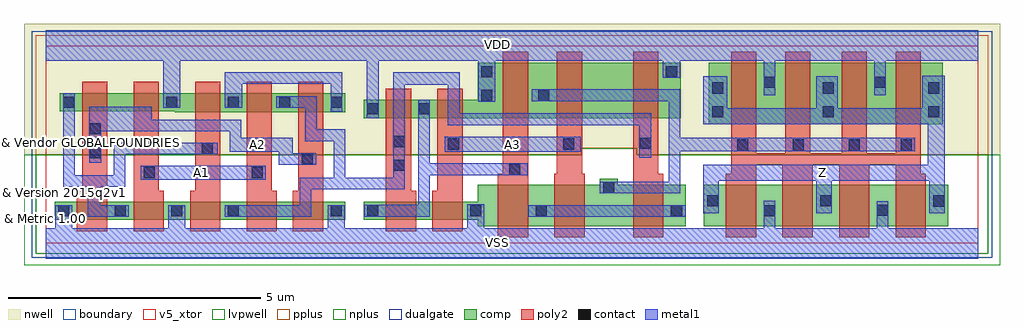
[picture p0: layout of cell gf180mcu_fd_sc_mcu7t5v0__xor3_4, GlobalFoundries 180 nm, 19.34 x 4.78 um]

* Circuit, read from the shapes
.subckt gf180mcu_fd_sc_mcu7t5v0__xor3_4 A1 A2 A3 VDD VSS Z
XM1 n1 A2 VSS VSUBS nfet_05v0 w=0.36u l=0.6u
XM2 VSS A1 n1 VSUBS nfet_05v0 w=0.36u l=0.6u
XM3 n2 n1 VSS VSUBS nfet_05v0 w=0.36u l=0.6u
XM4 n3 A1 n2 VSUBS nfet_05v0 w=0.36u l=0.6u
XM5 VSS A2 n3 VSUBS nfet_05v0 w=0.36u l=0.6u
XM6 n4 n2 n5 VSUBS nfet_05v0 w=0.36u l=0.6u
XM7 VSS A3 n4 VSUBS nfet_05v0 w=0.36u l=0.6u
XM8 n6 n5 VSS VSUBS nfet_05v0 w=0.82u l=0.6u
XM9 n7 A3 n6 VSUBS nfet_05v0 w=0.82u l=0.6u
XM10 n6 n2 n7 VSUBS nfet_05v0 w=0.82u l=0.6u
XM11 VSS n7 Z VSUBS nfet_05v0 w=0.82u l=0.6u m=4
XM12 n8 A2 n1 n9 pfet_05v0 w=0.36u l=0.5u
XM13 VDD A1 n8 n9 pfet_05v0 w=0.36u l=0.5u
XM14 n10 n1 VDD n9 pfet_05v0 w=0.385u l=0.5u
XM15 n2 A1 n10 n9 pfet_05v0 w=0.385u l=0.5u
XM16 n10 A2 n2 n9 pfet_05v0 w=0.385u l=0.5u
XM17 n5 n2 VDD n9 pfet_05v0 w=0.36u l=0.5u
XM18 VDD A3 n5 n9 pfet_05v0 w=0.36u l=0.5u
XM19 n7 n5 VDD n9 pfet_05v0 w=1.095u l=0.5u
XM20 n11 A3 n7 n9 pfet_05v0 w=1.095u l=0.5u
XM21 VDD n2 n11 n9 pfet_05v0 w=1.095u l=0.5u
XM22 VDD n7 Z n9 pfet_05v0 w=1.22u l=0.5u m=4
.ends

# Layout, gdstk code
import gdstk
lib = gdstk.Library(unit=1e-6, precision=1e-09)
def R(c, l, rs):  # rectangles x0, y0, x1, y1
    for r in rs: c.add(gdstk.rectangle(r[:2], r[2:], *l))
def A(c, l, x, y, w, h, nx, ny, dx, dy):  # array of equal rectangles
    R(c, l, [(x+i*dx, y+j*dy, x+i*dx+w, y+j*dy+h) for i in range(nx) for j in range(ny)])
def P(c, l, *ps):  # polygons
    for p in ps: c.add(gdstk.Polygon(p, *l))
boundary = (0, 0)
nwell = (21, 0)
comp = (22, 0)
poly2 = (30, 0)
pplus = (31, 0)
nplus = (32, 0)
contact = (33, 0)
metal1 = (34, 0)
dualgate = (55, 0)
v5_xtor = (112, 1)
lvpwell = (204, 0)

gf180mcu_fd_sc_mcu7t5v0_ = lib.new_cell('gf180mcu_fd_sc_mcu7t5v0__xor3_4')
R(gf180mcu_fd_sc_mcu7t5v0_, boundary, [(0,0,18.48,3.92)])
P(gf180mcu_fd_sc_mcu7t5v0_, nwell, [(-0.43,1.76),(-0.43,4.35),(18.91,4.35),(18.91,1.76),(11.71,1.76),(11.71,1.885),(10.61,1.885),(10.61,1.76)])
R(gf180mcu_fd_sc_mcu7t5v0_, comp, [(13.04,0.34,17.88,1.16), (0.18,0.465,5.94,0.825), (13.14,2.36,17.78,3.58)])
P(gf180mcu_fd_sc_mcu7t5v0_, comp, [(2.56,2.595),(2.56,2.62),(0.28,2.62),(0.28,2.98),(5.94,2.98),(5.94,2.595)],
  [(6.3,2.485),(6.3,2.845),(8.56,2.845),(8.56,3.58),(12.58,3.58),(12.58,2.485)],
  [(8.56,0.34),(8.56,0.465),(6.3,0.465),(6.3,0.825),(8.56,0.825),(8.56,1.16),(10.98,1.16),(10.98,1.285),(11.34,1.285),(11.34,1.16),(12.68,1.16),(12.68,0.34)])
P(gf180mcu_fd_sc_mcu7t5v0_, poly2, [(0.62,0.245),(0.62,1.045),(0.72,1.045),(0.72,3.2),(1.22,3.2),(1.22,0.245)],
  [(1.74,0.245),(1.74,3.2),(2.24,3.2),(2.24,1.045),(2.34,1.045),(2.34,0.245)],
  [(2.86,0.245),(2.86,1.045),(2.96,1.045),(2.96,3.2),(3.46,3.2),(3.46,0.245)],
  [(3.98,0.245),(3.98,3.2),(4.48,3.2),(4.48,1.045),(4.58,1.045),(4.58,0.245)],
  [(4.9,0.245),(4.9,1.045),(5,1.045),(5,3.2),(5.5,3.2),(5.5,0.245)],
  [(6.74,0.245),(6.74,3.065),(7.24,3.065),(7.24,1.045),(7.34,1.045),(7.34,0.245)],
  [(7.66,0.245),(7.66,1.045),(7.76,1.045),(7.76,3.065),(8.26,3.065),(8.26,0.245)],
  [(8.96,0.12),(8.96,1.38),(9.06,1.38),(9.06,3.8),(9.56,3.8),(9.56,0.12)],
  [(10.08,0.12),(10.08,1.38),(10.13,1.38),(10.13,3.8),(10.63,3.8),(10.63,1.38),(10.68,1.38),(10.68,0.12)],
  [(11.64,0.12),(11.64,3.8),(12.14,3.8),(12.14,1.38),(12.24,1.38),(12.24,0.12)],
  [(13.48,0.12),(13.48,1.38),(13.58,1.38),(13.58,3.8),(14.08,3.8),(14.08,1.785),(14.65,1.785),(14.65,3.8),(15.15,3.8),(15.15,1.785),(15.77,1.785),(15.77,3.8),(16.27,3.8),(16.27,1.785),(16.84,1.785),(16.84,3.8),(17.34,3.8),(17.34,1.38),(17.44,1.38),(17.44,0.12),(16.84,0.12),(16.84,1.555),(16.32,1.555),(16.32,0.12),(15.72,0.12),(15.72,1.555),(15.2,1.555),(15.2,0.12),(14.6,0.12),(14.6,1.555),(14.08,1.555),(14.08,0.12)])
P(gf180mcu_fd_sc_mcu7t5v0_, pplus, [(-0.2,1.76),(-0.2,4.12),(18.68,4.12),(18.68,1.76),(11.71,1.76),(11.71,1.885),(10.61,1.885),(10.61,1.76)])
P(gf180mcu_fd_sc_mcu7t5v0_, nplus, [(-0.2,-0.2),(-0.2,1.76),(10.61,1.76),(10.61,1.885),(11.71,1.885),(11.71,1.76),(18.68,1.76),(18.68,-0.2)])
A(gf180mcu_fd_sc_mcu7t5v0_, contact, 0.25, 0.535, 0.22, 0.22, 4, 1, 1.12, 0)
R(gf180mcu_fd_sc_mcu7t5v0_, contact, [(5.65,0.535,5.87,0.755), (6.37,0.535,6.59,0.755), (8.41,0.535,8.63,0.755), (9.71,0.535,9.93,0.755), (12.39,0.535,12.61,0.755), (14.23,0.535,14.45,0.755), (16.47,0.55,16.69,0.77), (17.59,0.73,17.81,0.95), (13.11,0.735,13.33,0.955), (15.35,0.735,15.57,0.955), (11.05,0.995,11.27,1.215), (1.94,1.295,2.16,1.515), (4.08,1.295,4.3,1.515), (9.185,1.355,9.405,1.575), (6.89,1.44,7.11,1.66), (5.07,1.565,5.29,1.785), (0.875,1.69,1.095,1.91), (3.09,1.77,3.31,1.99), (13.705,1.84,13.925,2.06), (14.8,1.84,15.02,2.06), (15.915,1.84,16.135,2.06), (16.94,1.84,17.16,2.06), (7.97,1.86,8.19,2.08), (10.255,1.86,10.475,2.08), (11.77,1.875,11.99,2.095), (6.89,1.91,7.11,2.13), (0.875,2.16,1.095,2.38), (13.21,2.5,13.43,2.72), (15.4,2.5,15.62,2.72), (17.49,2.5,17.71,2.72), (6.37,2.555,6.59,2.775), (7.39,2.555,7.61,2.775), (5.65,2.685,5.87,2.905), (0.35,2.69,0.57,2.91), (2.39,2.69,2.61,2.91), (3.61,2.69,3.83,2.91), (4.63,2.69,4.85,2.91), (8.63,2.82,8.85,3.04), (9.76,2.82,9.98,3.04), (13.21,2.97,13.43,3.19), (15.4,2.97,15.62,3.19), (17.49,2.97,17.71,3.19), (14.23,3.08,14.45,3.3), (16.42,3.08,16.64,3.3), (8.63,3.29,8.85,3.51), (12.29,3.29,12.51,3.51)])
R(gf180mcu_fd_sc_mcu7t5v0_, metal1, [(9.56,0.53,12.68,0.76), (1.88,1.265,4.36,1.535), (7.91,1.82,10.6,2.115)])
P(gf180mcu_fd_sc_mcu7t5v0_, metal1, [(0.835,0.53),(0.835,1.12),(0.345,1.12),(0.345,2.98),(0.575,2.98),(0.575,1.355),(1.35,1.355),(1.35,1.995),(3.41,1.995),(3.41,1.765),(1.58,1.765),(1.58,1.12),(1.085,1.12),(1.085,0.76),(1.65,0.76),(1.65,0.53)],
  [(4.615,1.56),(4.615,1.82),(3.645,1.82),(3.645,2.225),(1.105,2.225),(1.105,1.6),(0.865,1.6),(0.865,2.71),(2.1,2.71),(2.1,2.455),(3.875,2.455),(3.875,2.095),(4.895,2.095),(4.895,1.79),(5.36,1.79),(5.36,1.56)],
  [(5.645,2.61),(5.645,3.16),(3.89,3.16),(3.89,2.685),(3.55,2.685),(3.55,3.39),(5.875,3.39),(5.875,2.61)],
  [(6.31,0.53),(6.31,0.765),(7.385,0.765),(7.385,2.845),(7.615,2.845),(7.615,1.585),(9.555,1.585),(9.555,1.35),(7.615,1.35),(7.615,0.53)],
  [(3.55,0.53),(3.55,0.76),(5.035,0.76),(5.035,1.305),(5.705,1.305),(5.705,2.025),(5.14,2.025),(5.14,2.685),(4.57,2.685),(4.57,2.915),(5.37,2.915),(5.37,2.26),(5.935,2.26),(5.935,1.305),(6.885,1.305),(6.885,3.39),(8.205,3.39),(8.205,2.575),(11.995,2.575),(11.995,1.695),(11.765,1.695),(11.765,2.345),(7.97,2.345),(7.97,3.14),(7.115,3.14),(7.115,1.075),(5.265,1.075),(5.265,0.53)],
  [(10.98,0.99),(10.98,1.22),(12.345,1.22),(12.345,2.815),(9.635,2.815),(9.635,3.05),(12.575,3.05),(12.575,2.095),(17.225,2.095),(17.225,1.825),(12.575,1.825),(12.575,0.99)],
  [(13.025,0.6),(13.025,1.56),(17.48,1.56),(17.48,2.36),(13.025,2.36),(13.025,3.315),(13.505,3.315),(13.505,2.68),(15.265,2.68),(15.265,3.315),(15.69,3.315),(15.69,2.68),(17.37,2.68),(17.37,3.325),(17.815,3.325),(17.815,0.6),(17.505,0.6),(17.505,1.24),(15.575,1.24),(15.575,0.6),(15.265,0.6),(15.265,1.24),(13.335,1.24),(13.335,0.6)],
  [(0,-0.3),(0,0.3),(0.19,0.3),(0.19,0.76),(0.53,0.76),(0.53,0.3),(2.43,0.3),(2.43,0.76),(2.77,0.76),(2.77,0.3),(5.59,0.3),(5.59,0.76),(5.93,0.76),(5.93,0.3),(8.35,0.3),(8.35,0.775),(8.69,0.775),(8.69,0.3),(14.225,0.3),(14.225,0.85),(14.455,0.85),(14.455,0.3),(16.465,0.3),(16.465,0.84),(16.695,0.84),(16.695,0.3),(18.48,0.3),(18.48,-0.3)],
  [(6.365,2.485),(6.365,3.62),(2.67,3.62),(2.67,2.685),(2.33,2.685),(2.33,3.62),(0,3.62),(0,4.22),(18.48,4.22),(18.48,3.62),(16.645,3.62),(16.645,2.94),(16.415,2.94),(16.415,3.62),(14.455,3.62),(14.455,2.94),(14.225,2.94),(14.225,3.62),(12.57,3.62),(12.57,3.285),(12.23,3.285),(12.23,3.62),(8.91,3.62),(8.91,2.805),(8.57,2.805),(8.57,3.62),(6.595,3.62),(6.595,2.485)])
R(gf180mcu_fd_sc_mcu7t5v0_, dualgate, [(-0.28,-0.28,18.76,4.2)])
R(gf180mcu_fd_sc_mcu7t5v0_, v5_xtor, [(0,0,18.48,3.92)])
P(gf180mcu_fd_sc_mcu7t5v0_, lvpwell, [(-0.43,-0.43),(-0.43,1.76),(10.61,1.76),(10.61,1.885),(11.71,1.885),(11.71,1.76),(18.91,1.76),(18.91,-0.43)])
gf180mcu_fd_sc_mcu7t5v0_.add(gdstk.Label('A3', (9.24,1.96), layer=34, texttype=10))
gf180mcu_fd_sc_mcu7t5v0_.add(gdstk.Label('VDD', (8.96,3.945), layer=34, texttype=10))
gf180mcu_fd_sc_mcu7t5v0_.add(gdstk.Label('VSS', (8.96,0.01), layer=34, texttype=10))
gf180mcu_fd_sc_mcu7t5v0_.add(gdstk.Label('Z', (15.4,1.4), layer=34, texttype=10))
gf180mcu_fd_sc_mcu7t5v0_.add(gdstk.Label('A1', (3.08,1.4), layer=34, texttype=10))
gf180mcu_fd_sc_mcu7t5v0_.add(gdstk.Label('A2', (4.2,1.96), layer=34, texttype=10))
gf180mcu_fd_sc_mcu7t5v0_.add(gdstk.Label('& Vendor GLOBALFOUNDRIES', (0,2), layer=63, texttype=63))
gf180mcu_fd_sc_mcu7t5v0_.add(gdstk.Label('& Product GF018hv5v_mcu_sc7', (0,1.5), layer=63, texttype=63))
gf180mcu_fd_sc_mcu7t5v0_.add(gdstk.Label('& Version 2015q2v1', (0,1), layer=63, texttype=63))
gf180mcu_fd_sc_mcu7t5v0_.add(gdstk.Label('& Metric 1.00', (0,0.5), layer=63, texttype=63))

lib.write_gds('gf180mcu_fd_sc_mcu7t5v0__xor3_4.gds')
